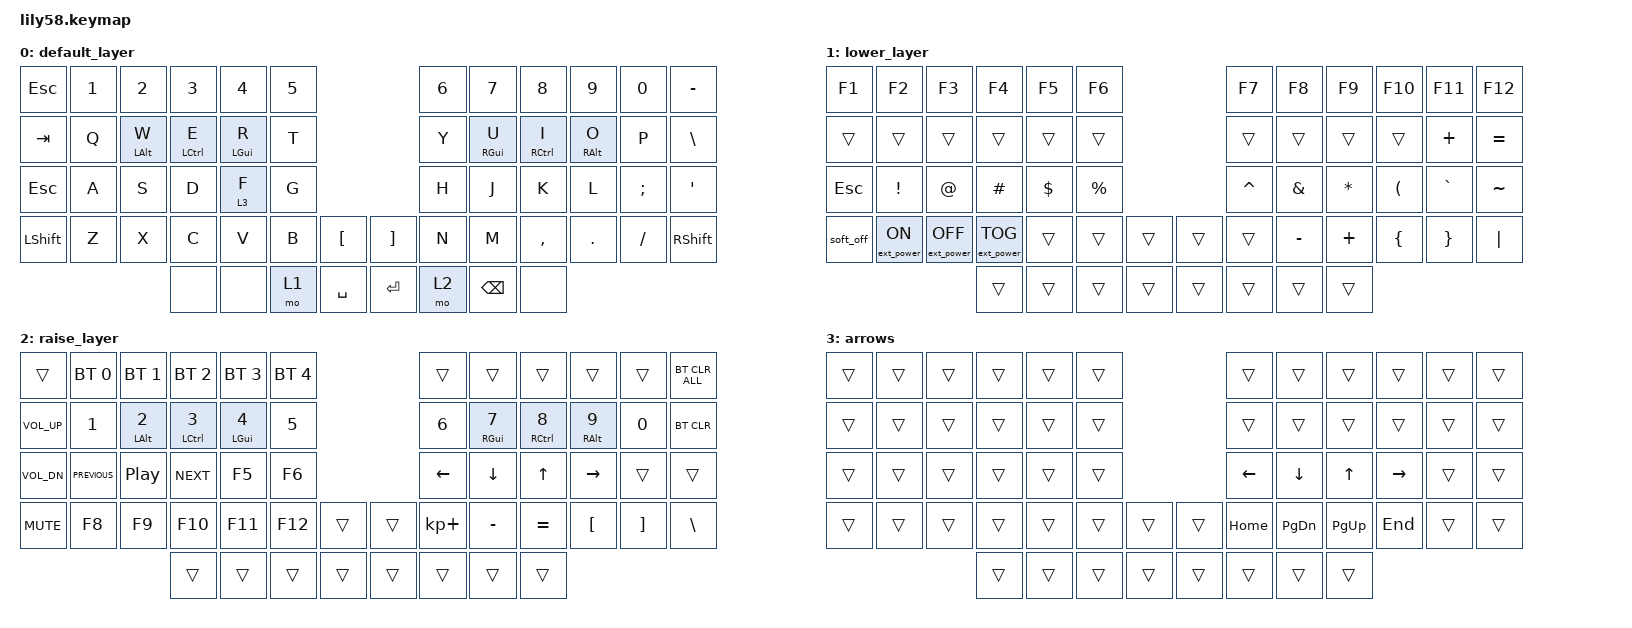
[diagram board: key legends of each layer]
/*
 * Copyright (c) 2020 The ZMK Contributors
 *
 * SPDX-License-Identifier: MIT
 */

#include <behaviors.dtsi>
#include <dt-bindings/zmk/bt.h>
#include <dt-bindings/zmk/ext_power.h>
#include <dt-bindings/zmk/keys.h>

&soft_off { hold-time-ms = <2000>; };

/ {
    combos {
        compatible = "zmk,combos";

        combo_caps_word {
            timeout-ms = <50>;
            key-positions = <36 49>;
            bindings = <&caps_word>;
        };
    };

    behaviors {
        td: td {
            compatible = "zmk,behavior-hold-tap";
            label = "TD";
            bindings = <&kp>, <&kp>;

            #binding-cells = <2>;
            tapping-term-ms = <200>;
            flavor = "tap-preferred";
        };

        tl: tl {
            compatible = "zmk,behavior-hold-tap";
            label = "TL";
            #binding-cells = <2>;
            tapping-term-ms = <200>;
            flavor = "tap-preferred";
            bindings = <&mo>, <&kp>;
        };
    };

    keymap {
        compatible = "zmk,keymap";

        default_layer {
            bindings = <
&kp ESC     &kp N1  &kp N2      &kp N3       &kp N4      &kp N5                         &kp N6  &kp N7           &kp N8       &kp N9      &kp N0    &kp MINUS
&kp TAB     &kp Q   &td LALT W  &td LCTRL E  &td LGUI R  &kp T                          &kp Y   &td RIGHT_GUI U  &td RCTRL I  &td RALT O  &kp P     &kp BSLH
&kp ESCAPE  &kp A   &kp S       &kp D        &tl 3 F     &kp G                          &kp H   &kp J            &kp K        &kp L       &kp SEMI  &kp SQT
&kp LSHIFT  &kp Z   &kp X       &kp C        &kp V       &kp B   &kp LBKT     &kp RBKT  &kp N   &kp M            &kp COMMA    &kp DOT     &kp FSLH  &kp RSHFT
                                &none        &none       &mo 1   &kp SPACE    &kp RET   &mo 2   &kp BSPC         &none
            >;
        };

        lower_layer {
            bindings = <
&kp F1     &kp F2            &kp F3             &kp F4             &kp F5      &kp F6                       &kp F7     &kp F8     &kp F9     &kp F10   &kp F11    &kp F12
&trans     &trans            &trans             &trans             &trans      &trans                       &trans     &trans     &trans     &trans    &kp PLUS   &kp EQUAL
&kp ESC    &kp EXCL          &kp AT             &kp HASH           &kp DOLLAR  &kp PRCNT                    &kp CARET  &kp AMPS   &kp ASTRK  &kp LPAR  &kp GRAVE  &kp TILDE
&soft_off  &ext_power EP_ON  &ext_power EP_OFF  &ext_power EP_TOG  &trans      &trans     &trans    &trans  &trans     &kp MINUS  &kp PLUS   &kp LBRC  &kp RBRC   &kp PIPE
                                                &trans             &trans      &trans     &trans    &trans  &trans     &trans     &trans
            >;
        };

        raise_layer {
            bindings = <
&trans           &bt BT_SEL 0    &bt BT_SEL 1  &bt BT_SEL 2  &bt BT_SEL 3  &bt BT_SEL 4                    &trans       &trans     &trans     &trans     &trans    &bt BT_CLR_ALL
&kp C_VOLUME_UP  &kp N1          &td LALT N2   &td LCTRL N3  &td LGUI N4   &kp N5                          &kp N6       &td RGUI N7  &td RCTRL N8  &td RALT N9  &kp N0    &bt BT_CLR
&kp C_VOL_DN     &kp C_PREVIOUS  &kp C_PP      &kp C_NEXT    &kp F5        &kp F6                          &kp LEFT     &kp DOWN   &kp UP     &kp RIGHT  &trans    &trans
&kp C_MUTE       &kp F8          &kp F9        &kp F10       &kp F11       &kp F12       &trans    &trans  &kp KP_PLUS  &kp MINUS  &kp EQUAL  &kp LBKT   &kp RBKT  &kp BSLH
                                               &trans        &trans        &trans        &trans    &trans  &trans       &trans     &trans
            >;
        };

        arrows {
            bindings = <
&trans  &trans  &trans  &trans  &trans  &trans                    &trans          &trans         &trans        &trans           &trans  &trans
&trans  &trans  &trans  &trans  &trans  &trans                    &trans          &trans         &trans        &trans           &trans  &trans
&trans  &trans  &trans  &trans  &trans  &trans                    &kp LEFT_ARROW  &kp DOWN       &kp UP_ARROW  &kp RIGHT_ARROW  &trans  &trans
&trans  &trans  &trans  &trans  &trans  &trans  &trans    &trans  &kp HOME        &kp PAGE_DOWN  &kp PAGE_UP   &kp END          &trans  &trans
                        &trans  &trans  &trans  &trans    &trans  &trans          &trans         &trans
            >;
        };
    };
};
